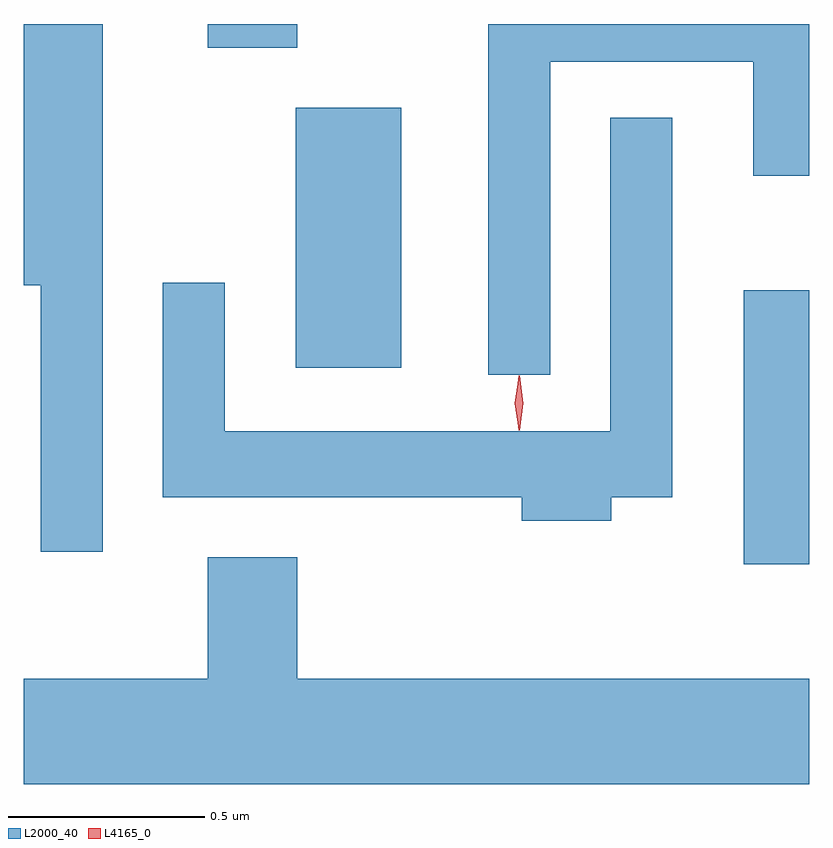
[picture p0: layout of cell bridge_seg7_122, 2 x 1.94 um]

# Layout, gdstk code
import gdstk
lib = gdstk.Library(unit=1e-6, precision=1e-09)
def R(c, l, rs):  # rectangles x0, y0, x1, y1
    for r in rs: c.add(gdstk.rectangle(r[:2], r[2:], *l))
def P(c, l, *ps):  # polygons
    for p in ps: c.add(gdstk.Polygon(p, *l))
L2000_40 = (2000, 40)
L4165_0 = (4165, 0)

bridge_seg7_122 = lib.new_cell('bridge_seg7_122')
R(bridge_seg7_122, L2000_40, [(1565.426,1792.576,1565.593,1793.274), (1564.286,1793.076,1564.554,1793.739), (1564.061,1793.891,1564.289,1793.952)])
P(bridge_seg7_122, L2000_40, [(1563.794,1793.952),(1563.593,1793.952),(1563.593,1793.286),(1563.636,1793.286),(1563.636,1792.608),(1563.794,1792.608)],
  [(1564.934,1793.856),(1565.451,1793.856),(1565.451,1793.566),(1565.593,1793.566),(1565.593,1793.952),(1564.776,1793.952),(1564.776,1793.058),(1564.934,1793.058)],
  [(1565.089,1792.746),(1565.244,1792.746),(1565.244,1793.713),(1565.086,1793.713),(1565.086,1792.914),(1564.104,1792.914),(1564.104,1793.293),(1563.946,1793.293),(1563.946,1792.746),(1564.861,1792.746),(1564.861,1792.686),(1565.089,1792.686)],
  [(1565.593,1792.284),(1564.289,1792.284),(1564.289,1792.594),(1564.061,1792.594),(1564.061,1792.284),(1563.593,1792.284),(1563.593,1792.016),(1565.593,1792.016)])
P(bridge_seg7_122, L4165_0, [(1564.854,1792.917),(1564.845,1792.986),(1564.854,1793.056),(1564.855,1793.056),(1564.856,1793.056),(1564.865,1792.986),(1564.856,1792.917),(1564.855,1792.917)],
  [(1564.853,1792.919),(1564.853,1792.92),(1564.843,1792.986),(1564.853,1793.052),(1564.853,1793.053),(1564.854,1793.052),(1564.863,1792.986),(1564.854,1792.92)])

lib.write_gds('bridge_seg7_122.gds')
